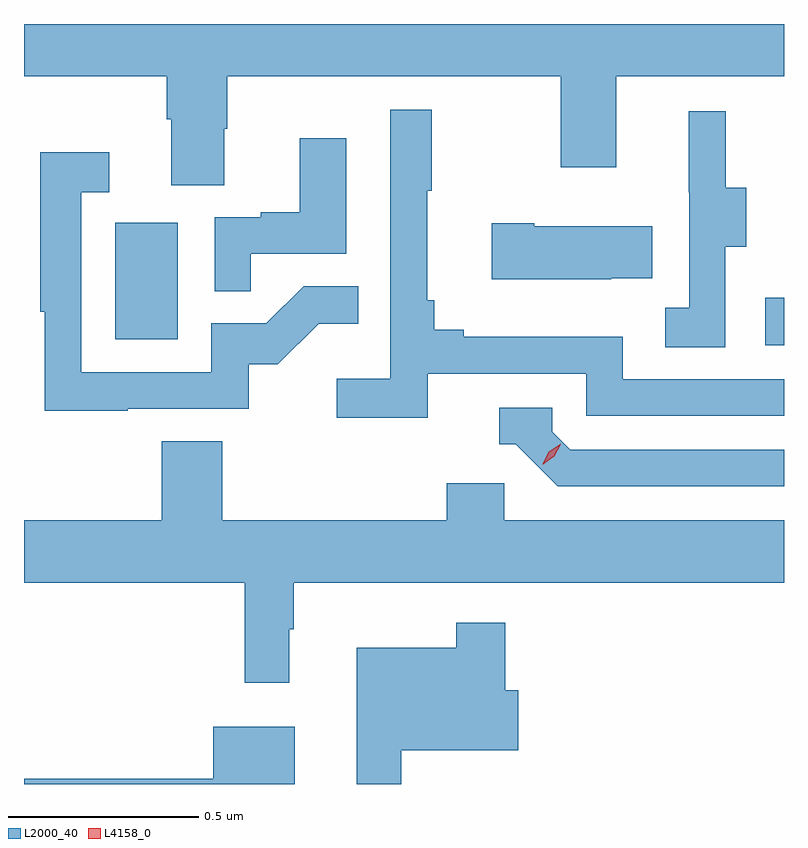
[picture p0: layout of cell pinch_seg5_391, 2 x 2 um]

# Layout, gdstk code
import gdstk
lib = gdstk.Library(unit=1e-6, precision=1e-09)
def R(c, l, rs):  # rectangles x0, y0, x1, y1
    for r in rs: c.add(gdstk.rectangle(r[:2], r[2:], *l))
def P(c, l, *ps):  # polygons
    for p in ps: c.add(gdstk.Polygon(p, *l))
L2000_40 = (2000, 40)
L4158_0 = (4158, 0)

pinch_seg5_391 = lib.new_cell('pinch_seg5_391')
R(pinch_seg5_391, L2000_40, [(986.877,872.037,986.926,872.162), (985.166,872.052,985.33,872.359)])
P(pinch_seg5_391, L2000_40, [(985.453,872.607),(985.461,872.607),(985.461,872.744),(986.338,872.744),(986.338,872.505),(986.485,872.505),(986.485,872.744),(986.926,872.744),(986.926,872.882),(984.926,872.882),(984.926,872.744),(985.301,872.744),(985.301,872.632),(985.313,872.632),(985.313,872.458),(985.453,872.458)],
  [(985.988,871.962),(986.406,871.962),(986.406,871.851),(986.926,871.851),(986.926,871.947),(986.502,871.947),(986.502,872.059),(986.083,872.059),(986.083,872.078),(986.006,872.078),(986.006,872.155),(985.987,872.155),(985.987,872.443),(985.999,872.443),(985.999,872.656),(985.89,872.656),(985.89,871.948),(985.749,871.948),(985.749,871.846),(985.988,871.846)],
  [(986.772,872.296),(986.827,872.296),(986.827,872.451),(986.773,872.451),(986.773,872.653),(986.675,872.653),(986.675,872.439),(986.676,872.439),(986.676,872.135),(986.613,872.135),(986.613,872.032),(986.772,872.032)],
  [(985.523,872.277),(985.774,872.277),(985.774,872.581),(985.652,872.581),(985.652,872.386),(985.549,872.386),(985.549,872.373),(985.428,872.373),(985.428,872.179),(985.523,872.179)],
  [(985.199,871.869),(985.518,871.869),(985.518,871.986),(985.594,871.986),(985.701,872.093),(985.805,872.093),(985.805,872.192),(985.662,872.192),(985.564,872.094),(985.419,872.094),(985.419,871.965),(985.077,871.965),(985.077,872.439),(985.15,872.439),(985.15,872.545),(984.969,872.545),(984.969,872.125),(984.981,872.125),(984.981,871.864),(985.199,871.864)],
  [(986.471,872.213),(986.579,872.213),(986.579,872.35),(986.269,872.35),(986.269,872.358),(986.157,872.358),(986.157,872.21),(986.471,872.21)],
  [(986.926,871.761),(986.364,871.761),(986.316,871.809),(986.316,871.872),(986.177,871.872),(986.177,871.776),(986.22,871.776),(986.331,871.665),(986.926,871.665)],
  [(985.624,871.289),(985.636,871.289),(985.636,871.412),(986.926,871.412),(986.926,871.576),(986.19,871.576),(986.19,871.674),(986.039,871.674),(986.039,871.576),(985.448,871.576),(985.448,871.784),(985.288,871.784),(985.288,871.576),(984.926,871.576),(984.926,871.412),(985.507,871.412),(985.507,871.149),(985.624,871.149)],
  [(985.919,870.971),(986.227,870.971),(986.227,871.129),(986.192,871.129),(986.192,871.306),(986.064,871.306),(986.064,871.24),(985.802,871.24),(985.802,870.882),(985.919,870.882)],
  [(985.639,871.033),(985.424,871.033),(985.424,870.896),(984.926,870.896),(984.926,870.882),(985.639,870.882)])
P(pinch_seg5_391, L4158_0, [(986.291,871.724),(986.291,871.724),(986.307,871.757),(986.338,871.777),(986.338,871.777),(986.338,871.776),(986.322,871.744),(986.292,871.724)])

lib.write_gds('pinch_seg5_391.gds')
